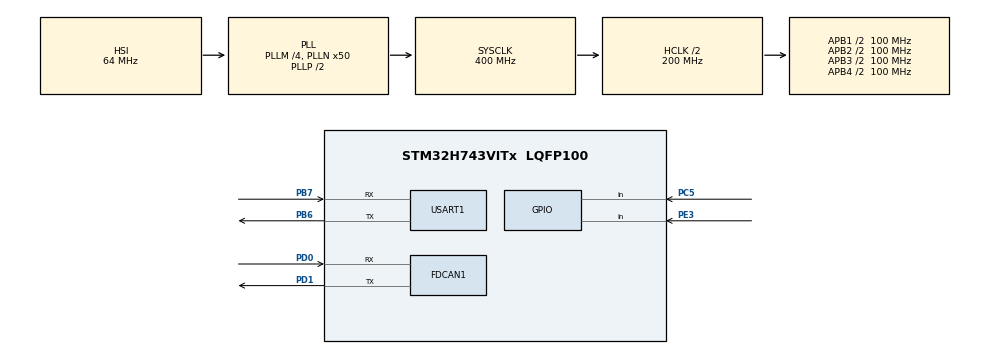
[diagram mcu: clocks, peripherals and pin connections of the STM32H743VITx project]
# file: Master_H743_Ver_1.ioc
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CORTEX_M7.default_mode_Activation=1
FDCAN1.CalculateBaudRateNominal=125000
FDCAN1.CalculateTimeBitNominal=8000
FDCAN1.CalculateTimeQuantumNominal=100.0
FDCAN1.NominalPrescaler=10
FDCAN1.NominalTimeSeg1=63
FDCAN1.NominalTimeSeg2=16
FDCAN1.RxBuffersNbr=3
FDCAN1.TxFifoQueueElmtsNbr=2
FDCAN1.TxFifoQueueMode=FDCAN_TX_QUEUE_OPERATION
Mcu.Family=STM32H7
Mcu.Name=STM32H743VITx
Mcu.Package=LQFP100
NVIC.FDCAN1_IT0_IRQn=true\:0\:0\:false\:false\:true\:true\:true\:true
NVIC.PriorityGroup=NVIC_PRIORITYGROUP_4
NVIC.USART1_IRQn=true\:0\:0\:false\:false\:true\:true\:true\:true
PB6.Mode=Asynchronous
PB6.Signal=USART1_TX
PB7.Mode=Asynchronous
PB7.Signal=USART1_RX
PC5.GPIO_PuPd=GPIO_PULLUP
PC5.Signal=GPIO_Input
PD0.Mode=FDCAN_Activate
PD0.Signal=FDCAN1_RX
PD1.Mode=FDCAN_Activate
PD1.Signal=FDCAN1_TX
PE3.GPIO_PuPd=GPIO_PULLUP
PE3.Signal=GPIO_Input
PH0-OSC_IN\ (PH0).Mode=HSE-External-Oscillator
PH0-OSC_IN\ (PH0).Signal=RCC_OSC_IN
PH1-OSC_OUT\ (PH1).Mode=HSE-External-Oscillator
PH1-OSC_OUT\ (PH1).Signal=RCC_OSC_OUT
ProjectManager.HeapSize=0x200
ProjectManager.StackSize=0x400
ProjectManager.TargetToolchain=STM32CubeIDE
RCC.ADCFreq_Value=129000000
RCC.APB1Freq_Value=100000000
RCC.APB2Freq_Value=100000000
RCC.APB3Freq_Value=100000000
RCC.APB4Freq_Value=100000000
RCC.CortexFreq_Value=400000000
RCC.D1PPRE=RCC_APB3_DIV2
RCC.D2PPRE1=RCC_APB1_DIV2
RCC.D2PPRE2=RCC_APB2_DIV2
RCC.D3PPRE=RCC_APB4_DIV2
RCC.DATA_CACHE_ENABLE=1
RCC.DIVM1=4
RCC.DIVN1=50
RCC.DIVQ1=8
RCC.HCLKFreq_Value=200000000
RCC.HPRE=RCC_HCLK_DIV2
RCC.INSTRUCTION_CACHE_ENABLE=1
RCC.PLL2FRACN=0
RCC.PLL3FRACN=0
RCC.PLLFRACN=0
RCC.PREFETCH_ENABLE=1
RCC.PWREXT_OverDrive=PWREXT_OverDrive_DESACTIVATED
RCC.SYSCLKFreq_VALUE=400000000
RCC.SYSCLKSource=RCC_SYSCLKSOURCE_PLLCLK
RCC.USBFreq_Value=100000000
USART1.VirtualMode-Asynchronous=VM_ASYNC
VP_MEMORYMAP_VS_MEMORYMAP.Mode=CurAppReg
board=custom

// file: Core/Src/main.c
/* USER CODE BEGIN Header */
/**
  ******************************************************************************
  * @file           : main.c
  * @brief          : Main program body
  ******************************************************************************
  * @attention
  *
  * Copyright (c) 2026 STMicroelectronics.
  * All rights reserved.
  *
  * This software is licensed under terms that can be found in the LICENSE file
  * in the root directory of this software component.
  * If no LICENSE file comes with this software, it is provided AS-IS.
  *
  ******************************************************************************
  */
/* USER CODE END Header */
#include "main.h"

/* USER CODE BEGIN Includes */
#include <string.h>
#include <stdio.h>
#include <stdlib.h>
/* USER CODE END Includes */

FDCAN_HandleTypeDef hfdcan1;

UART_HandleTypeDef huart1;

/* USER CODE BEGIN PV */
uint8_t RxDataUART[1];
char UartBuffer[128];
uint16_t UartBufferIndex = 0;
/* USER CODE END PV */

void SystemClock_Config(void);
static void MPU_Config(void);
static void MX_GPIO_Init(void);
static void MX_FDCAN1_Init(void);
static void MX_USART1_UART_Init(void);

int main(void)
{

  /* MPU Configuration--------------------------------------------------------*/
  MPU_Config();

  /* MCU Configuration--------------------------------------------------------*/

  /* Reset of all peripherals, Initializes the Flash interface and the Systick. */
  HAL_Init();

  /* Configure the system clock */
  SystemClock_Config();

  /* Initialize all configured peripherals */
  MX_GPIO_Init();
  MX_FDCAN1_Init();
  MX_USART1_UART_Init();
  /* USER CODE BEGIN 2 */
  // --- Cấu hình FDCAN Sniffer ---
  // Nhận TẤT CẢ gói tin CAN vào RxFifo0 (Không dùng Filter)
  HAL_FDCAN_ConfigGlobalFilter(&hfdcan1, FDCAN_ACCEPT_IN_RX_FIFO0, FDCAN_ACCEPT_IN_RX_FIFO0, FDCAN_REJECT_REMOTE, FDCAN_REJECT_REMOTE);

  // Kích hoạt ngắt nhận FDCAN
  HAL_FDCAN_ActivateNotification(&hfdcan1, FDCAN_IT_RX_FIFO0_NEW_MESSAGE, 0);

  // Khởi động giao diện FDCAN
  HAL_FDCAN_Start(&hfdcan1);

  // Khởi động ngắt nhận UART để giao tiếp với C#
  HAL_UART_Receive_IT(&huart1, RxDataUART, 1);

  // Cấu hình gói tin gửi đi cho K1 (Gửi cho F407)
  FDCAN_TxHeaderTypeDef TxHeader1;
  TxHeader1.Identifier = 0x010;
  TxHeader1.IdType = FDCAN_STANDARD_ID;
  TxHeader1.TxFrameType = FDCAN_DATA_FRAME;
  TxHeader1.DataLength = FDCAN_DLC_BYTES_1;
  TxHeader1.ErrorStateIndicator = FDCAN_ESI_ACTIVE;
  TxHeader1.BitRateSwitch = FDCAN_BRS_OFF; // KHÔNG dùng FD, dùng Classic
  TxHeader1.FDFormat = FDCAN_CLASSIC_CAN;  // Ép về chuẩn CAN 2.0 để giao tiếp với F4
  TxHeader1.TxEventFifoControl = FDCAN_NO_TX_EVENTS;
  TxHeader1.MessageMarker = 0;

  // Cấu hình gói tin gửi đi cho K2 (Gửi cho F429)
  FDCAN_TxHeaderTypeDef TxHeader2 = TxHeader1;
  TxHeader2.Identifier = 0x020;

  uint8_t TxData[1] = {0x01}; // Lệnh đổi trạng thái LED

  // Khai báo biến chống rung cho K1 và K2 (Mặc định bằng 1 vì đã Pull-Up)
  uint32_t last_press_time_K1 = 0;
  uint32_t last_press_time_K2 = 0;
  uint8_t last_btn_state_K1 = GPIO_PIN_SET;
  uint8_t last_btn_state_K2 = GPIO_PIN_SET;
  uint8_t debounced_K1 = GPIO_PIN_SET;
  uint8_t debounced_K2 = GPIO_PIN_SET;
  /* USER CODE END 2 */

  /* Infinite loop */
  while (1)
  {

    /* USER CODE BEGIN 3 */
    // --- XỬ LÝ NÚT K1 (PE3) ---
    uint8_t raw_K1 = HAL_GPIO_ReadPin(GPIOE, GPIO_PIN_3);
    if (raw_K1 != last_btn_state_K1) {
      last_press_time_K1 = HAL_GetTick();
    }
    if ((HAL_GetTick() - last_press_time_K1) > 50) {
      if (raw_K1 != debounced_K1) {
        debounced_K1 = raw_K1;
        if (debounced_K1 == GPIO_PIN_RESET) { // Nhấn thì trạng thái bằng 0 (Pull-up)
          HAL_FDCAN_AddMessageToTxFifoQ(&hfdcan1, &TxHeader1, TxData); // Gửi 0x010
        }
      }
    }
    last_btn_state_K1 = raw_K1;

    // --- XỬ LÝ NÚT K2 (PC5) ---
    uint8_t raw_K2 = HAL_GPIO_ReadPin(GPIOC, GPIO_PIN_5);
    if (raw_K2 != last_btn_state_K2) {
      last_press_time_K2 = HAL_GetTick();
    }
    if ((HAL_GetTick() - last_press_time_K2) > 50) {
      if (raw_K2 != debounced_K2) {
        debounced_K2 = raw_K2;
        if (debounced_K2 == GPIO_PIN_RESET) { // Nhấn thì trạng thái bằng 0
          HAL_FDCAN_AddMessageToTxFifoQ(&hfdcan1, &TxHeader2, TxData); // Gửi 0x020
        }
      }
    }
    last_btn_state_K2 = raw_K2;

  }
  /* USER CODE END 3 */
}

void SystemClock_Config(void)
{
  RCC_OscInitTypeDef RCC_OscInitStruct = {0};
  RCC_ClkInitTypeDef RCC_ClkInitStruct = {0};

  /** Supply configuration update enable
  */
  HAL_PWREx_ConfigSupply(PWR_LDO_SUPPLY);

  /** Configure the main internal regulator output voltage
  */
  __HAL_PWR_VOLTAGESCALING_CONFIG(PWR_REGULATOR_VOLTAGE_SCALE1);

  while(!__HAL_PWR_GET_FLAG(PWR_FLAG_VOSRDY)) {}

  /** Initializes the RCC Oscillators according to the specified parameters
  * in the RCC_OscInitTypeDef structure.
  */
  RCC_OscInitStruct.OscillatorType = RCC_OSCILLATORTYPE_HSI;
  RCC_OscInitStruct.HSIState = RCC_HSI_DIV1;
  RCC_OscInitStruct.HSICalibrationValue = RCC_HSICALIBRATION_DEFAULT;
  RCC_OscInitStruct.PLL.PLLState = RCC_PLL_ON;
  RCC_OscInitStruct.PLL.PLLSource = RCC_PLLSOURCE_HSI;
  RCC_OscInitStruct.PLL.PLLM = 4;
  RCC_OscInitStruct.PLL.PLLN = 50;
  RCC_OscInitStruct.PLL.PLLP = 2;
  RCC_OscInitStruct.PLL.PLLQ = 8;
  RCC_OscInitStruct.PLL.PLLR = 2;
  RCC_OscInitStruct.PLL.PLLRGE = RCC_PLL1VCIRANGE_3;
  RCC_OscInitStruct.PLL.PLLVCOSEL = RCC_PLL1VCOWIDE;
  RCC_OscInitStruct.PLL.PLLFRACN = 0;
  if (HAL_RCC_OscConfig(&RCC_OscInitStruct) != HAL_OK)
  {
    Error_Handler();
  }

  /** Initializes the CPU, AHB and APB buses clocks
  */
  RCC_ClkInitStruct.ClockType = RCC_CLOCKTYPE_HCLK|RCC_CLOCKTYPE_SYSCLK
                              |RCC_CLOCKTYPE_PCLK1|RCC_CLOCKTYPE_PCLK2
                              |RCC_CLOCKTYPE_D3PCLK1|RCC_CLOCKTYPE_D1PCLK1;
  RCC_ClkInitStruct.SYSCLKSource = RCC_SYSCLKSOURCE_PLLCLK;
  RCC_ClkInitStruct.SYSCLKDivider = RCC_SYSCLK_DIV1;
  RCC_ClkInitStruct.AHBCLKDivider = RCC_HCLK_DIV2;
  RCC_ClkInitStruct.APB3CLKDivider = RCC_APB3_DIV2;
  RCC_ClkInitStruct.APB1CLKDivider = RCC_APB1_DIV2;
  RCC_ClkInitStruct.APB2CLKDivider = RCC_APB2_DIV2;
  RCC_ClkInitStruct.APB4CLKDivider = RCC_APB4_DIV2;

  if (HAL_RCC_ClockConfig(&RCC_ClkInitStruct, FLASH_LATENCY_2) != HAL_OK)
  {
    Error_Handler();
  }
}

static void MX_FDCAN1_Init(void)
{

  /* USER CODE BEGIN FDCAN1_Init 1 */
  // === QUAN TRỌNG: Ép buộc RxFifo0 có 3 phần tử ===
  // CubeMX luôn sinh RxFifo0ElmtsNbr = 0 (bug/config sai).
  // Phải ghi đè ở đây TRƯỚC khi HAL_FDCAN_Init() được gọi.
  // Nếu không, FDCAN sẽ không có chỗ chứa gói tin nhận được!
  /* USER CODE END FDCAN1_Init 1 */
  hfdcan1.Instance = FDCAN1;
  hfdcan1.Init.FrameFormat = FDCAN_FRAME_CLASSIC;
  hfdcan1.Init.Mode = FDCAN_MODE_NORMAL;
  hfdcan1.Init.AutoRetransmission = DISABLE;
  hfdcan1.Init.TransmitPause = DISABLE;
  hfdcan1.Init.ProtocolException = DISABLE;
  hfdcan1.Init.NominalPrescaler = 10;
  hfdcan1.Init.NominalSyncJumpWidth = 1;
  hfdcan1.Init.NominalTimeSeg1 = 63;
  hfdcan1.Init.NominalTimeSeg2 = 16;
  hfdcan1.Init.DataPrescaler = 1;
  hfdcan1.Init.DataSyncJumpWidth = 1;
  hfdcan1.Init.DataTimeSeg1 = 1;
  hfdcan1.Init.DataTimeSeg2 = 1;
  hfdcan1.Init.MessageRAMOffset = 0;
  hfdcan1.Init.StdFiltersNbr = 0;
  hfdcan1.Init.ExtFiltersNbr = 0;
  hfdcan1.Init.RxFifo0ElmtsNbr = 0;
  hfdcan1.Init.RxFifo0ElmtSize = FDCAN_DATA_BYTES_8;
  hfdcan1.Init.RxFifo1ElmtsNbr = 0;
  hfdcan1.Init.RxFifo1ElmtSize = FDCAN_DATA_BYTES_8;
  hfdcan1.Init.RxBuffersNbr = 3;
  hfdcan1.Init.RxBufferSize = FDCAN_DATA_BYTES_8;
  hfdcan1.Init.TxEventsNbr = 0;
  hfdcan1.Init.TxBuffersNbr = 0;
  hfdcan1.Init.TxFifoQueueElmtsNbr = 2;
  hfdcan1.Init.TxFifoQueueMode = FDCAN_TX_QUEUE_OPERATION;
  hfdcan1.Init.TxElmtSize = FDCAN_DATA_BYTES_8;
  if (HAL_FDCAN_Init(&hfdcan1) != HAL_OK)
  {
    Error_Handler();
  }
  /* USER CODE BEGIN FDCAN1_Init 2 */
  // === V\u00c1 L\u1ed6I CUBEMX: RxFifo0ElmtsNbr = 0 ===
  // CubeMX \u0111\u1ec3 gi\u00e1 tr\u1ecb = 0, khi\u1ebfn FDCAN kh\u00f4ng th\u1ec3 nh\u1eadn b\u1ea5t k\u1ef3 g\u00f3i tin n\u00e0o.
  // \u00c9p bu\u1ed9c l\u1ea1i th\u00e0nh 3 v\u00e0 Init l\u1ea1i l\u1ea7n n\u1eefa.
  hfdcan1.Init.RxFifo0ElmtsNbr = 3;
  if (HAL_FDCAN_Init(&hfdcan1) != HAL_OK)
  {
    Error_Handler();
  }
  /* USER CODE END FDCAN1_Init 2 */

}

static void MX_USART1_UART_Init(void)
{

  huart1.Instance = USART1;
  huart1.Init.BaudRate = 115200;
  huart1.Init.WordLength = UART_WORDLENGTH_8B;
  huart1.Init.StopBits = UART_STOPBITS_1;
  huart1.Init.Parity = UART_PARITY_NONE;
  huart1.Init.Mode = UART_MODE_TX_RX;
  huart1.Init.HwFlowCtl = UART_HWCONTROL_NONE;
  huart1.Init.OverSampling = UART_OVERSAMPLING_16;
  huart1.Init.OneBitSampling = UART_ONE_BIT_SAMPLE_DISABLE;
  huart1.Init.ClockPrescaler = UART_PRESCALER_DIV1;
  huart1.AdvancedInit.AdvFeatureInit = UART_ADVFEATURE_NO_INIT;
  if (HAL_UART_Init(&huart1) != HAL_OK)
  {
    Error_Handler();
  }
  if (HAL_UARTEx_SetTxFifoThreshold(&huart1, UART_TXFIFO_THRESHOLD_1_8) != HAL_OK)
  {
    Error_Handler();
  }
  if (HAL_UARTEx_SetRxFifoThreshold(&huart1, UART_RXFIFO_THRESHOLD_1_8) != HAL_OK)
  {
    Error_Handler();
  }
  if (HAL_UARTEx_DisableFifoMode(&huart1) != HAL_OK)
  {
    Error_Handler();
  }

}

static void MX_GPIO_Init(void)
{
  GPIO_InitTypeDef GPIO_InitStruct = {0};

  /* GPIO Ports Clock Enable */
  __HAL_RCC_GPIOE_CLK_ENABLE();
  __HAL_RCC_GPIOH_CLK_ENABLE();
  __HAL_RCC_GPIOC_CLK_ENABLE();
  __HAL_RCC_GPIOD_CLK_ENABLE();
  __HAL_RCC_GPIOB_CLK_ENABLE();

  /*Configure GPIO pin : PE3 */
  GPIO_InitStruct.Pin = GPIO_PIN_3;
  GPIO_InitStruct.Mode = GPIO_MODE_INPUT;
  GPIO_InitStruct.Pull = GPIO_PULLUP;
  HAL_GPIO_Init(GPIOE, &GPIO_InitStruct);

  /*Configure GPIO pin : PC5 */
  GPIO_InitStruct.Pin = GPIO_PIN_5;
  GPIO_InitStruct.Mode = GPIO_MODE_INPUT;
  GPIO_InitStruct.Pull = GPIO_PULLUP;
  HAL_GPIO_Init(GPIOC, &GPIO_InitStruct);

  /* USER CODE BEGIN MX_GPIO_Init_2 */
  /* Code tay đã được dọn dẹp vì CubeMX đã tự động cấu hình phần cứng ở trên */
  /* USER CODE END MX_GPIO_Init_2 */
}

/* USER CODE BEGIN 4 */
// Gửi chuỗi qua UART
void UartSendString(const char* str) {
    HAL_UART_Transmit(&huart1, (uint8_t*)str, strlen(str), 100);
}

// Xử lý ngắt FDCAN: Chuyển dữ liệu lên PC
void HAL_FDCAN_RxFifo0Callback(FDCAN_HandleTypeDef *hfdcan, uint32_t RxFifo0ITs)
{
    if((RxFifo0ITs & FDCAN_IT_RX_FIFO0_NEW_MESSAGE) != RESET)
    {
        FDCAN_RxHeaderTypeDef RxHeader;
        uint8_t RxData[8] = {0};
        if (HAL_FDCAN_GetRxMessage(hfdcan, FDCAN_RX_FIFO0, &RxHeader, RxData) == HAL_OK)
        {
            char msg[100];
            uint32_t id = RxHeader.Identifier;

            if (id == 0x11A) {
                uint16_t ch1 = ((uint16_t)RxData[0] << 8) | RxData[1];
                uint16_t ch2 = ((uint16_t)RxData[2] << 8) | RxData[3];
                uint16_t ch3 = ((uint16_t)RxData[4] << 8) | RxData[5];

                uint32_t v1 = (uint32_t)ch1 * 330 / 4095;
                uint32_t v2 = (uint32_t)ch2 * 330 / 4095;
                uint32_t v3 = (uint32_t)ch3 * 330 / 4095;

                sprintf(msg, "<ADC_3CH:%lu.%02lu,%lu.%02lu,%lu.%02lu>\r\n",
                        v1/100, v1%100, v2/100, v2%100, v3/100, v3%100);
            } else if (id == 0x112 && RxHeader.DataLength >= FDCAN_DLC_BYTES_6) {
                // Telemetry motor từ F429: RPM, Dir, Duty, Encoder
                int16_t rpm = (int16_t)((RxData[0] << 8) | RxData[1]);
                uint8_t dir = RxData[2];
                uint8_t duty = RxData[3];
                int16_t enc = (int16_t)((RxData[4] << 8) | RxData[5]);

                sprintf(msg, "<MOTOR_SPD:%d,%u,%u,%d>\r\n", rpm, dir, duty, enc);
            } else if (id == 0x113) {
                // PID Telemetry từ F429: Target, Actual, Error, Output
                int16_t target = (int16_t)((RxData[0] << 8) | RxData[1]);
                int16_t actual = (int16_t)((RxData[2] << 8) | RxData[3]);
                int16_t error  = (int16_t)((RxData[4] << 8) | RxData[5]);
                int8_t  output = (int8_t)RxData[6];

                sprintf(msg, "<PID_DATA:%d,%d,%d,%d>\r\n", target, actual, error, output);
            } else {
                sprintf(msg, "[CAN_RX] ID: 0x%03lX, DATA: %02X\r\n", id, RxData[0]);
            }

            UartSendString(msg);
        }
    }
}

// Xử lý ngắt UART: Nhận lệnh từ C# và chuyển xuống CAN
void HAL_UART_RxCpltCallback(UART_HandleTypeDef *huart)
{
    if (huart->Instance == USART1)
    {
        if (RxDataUART[0] == '\n') // Kết thúc chuỗi
        {
            UartBuffer[UartBufferIndex] = '\0'; // Kết thúc chuỗi C

            // --- ECHO LOG ĐỂ DEBUG ---
            char debug_msg[150];
            sprintf(debug_msg, "[DEBUG-RX] I received: %s\n", UartBuffer);
            UartSendString(debug_msg);

            FDCAN_TxHeaderTypeDef TxHdr = {0};
            TxHdr.IdType = FDCAN_STANDARD_ID;
            TxHdr.TxFrameType = FDCAN_DATA_FRAME;
            TxHdr.DataLength = FDCAN_DLC_BYTES_1;
            TxHdr.ErrorStateIndicator = FDCAN_ESI_ACTIVE;
            TxHdr.BitRateSwitch = FDCAN_BRS_OFF;
            TxHdr.FDFormat = FDCAN_CLASSIC_CAN;
            TxHdr.TxEventFifoControl = FDCAN_NO_TX_EVENTS;
            TxHdr.MessageMarker = 0;

            // Xử lý chuỗi (Dùng strstr để chống nhiễu đầu chuỗi khi mở cổng COM)
            if (strstr(UartBuffer, "<CMD_PING>") != NULL)
            {
                UartSendString("\n====================================\n");
                UartSendString("[SYSTEM] STM32H743 MASTER CONNECTED!\n");
                UartSendString("[SYSTEM] CAN BUS 125KBPS IS READY.\n");
                UartSendString("====================================\n");
            }
            else if (strstr(UartBuffer, "<CMD_START_ADC>") != NULL)
            {
                TxHdr.Identifier = 0x010; // Dùng chung ID 0x010 của Slave 1
                uint8_t d[1] = {0x02}; // Mã lệnh Start ADC
                HAL_FDCAN_AddMessageToTxFifoQ(&hfdcan1, &TxHdr, d);
            }
            else if (strstr(UartBuffer, "<CMD_STOP_ADC>") != NULL)
            {
                TxHdr.Identifier = 0x010; // Dùng chung ID 0x010 của Slave 1
                uint8_t d[1] = {0x03}; // Mã lệnh Stop ADC
                HAL_FDCAN_AddMessageToTxFifoQ(&hfdcan1, &TxHdr, d);
            }
            else if (strstr(UartBuffer, "<PWM_FWD_") != NULL)
            {
                // Format: <PWM_FWD_50> → Quay thuận 50%
                char *val_str = strstr(UartBuffer, "<PWM_FWD_") + 9;
                int pwm_val = atoi(val_str);
                if (pwm_val > 100) pwm_val = 100;

                TxHdr.Identifier = 0x020;
                TxHdr.DataLength = FDCAN_DLC_BYTES_2;
                uint8_t d[2] = {0x10, (uint8_t)pwm_val}; // cmd=FWD, duty
                HAL_FDCAN_AddMessageToTxFifoQ(&hfdcan1, &TxHdr, d);
                TxHdr.DataLength = FDCAN_DLC_BYTES_1; // Reset về mặc định
            }
            else if (strstr(UartBuffer, "<PWM_REV_") != NULL)
            {
                // Format: <PWM_REV_50> → Quay ngược 50%
                char *val_str = strstr(UartBuffer, "<PWM_REV_") + 9;
                int pwm_val = atoi(val_str);
                if (pwm_val > 100) pwm_val = 100;

                TxHdr.Identifier = 0x020;
                TxHdr.DataLength = FDCAN_DLC_BYTES_2;
                uint8_t d[2] = {0x11, (uint8_t)pwm_val}; // cmd=REV, duty
                HAL_FDCAN_AddMessageToTxFifoQ(&hfdcan1, &TxHdr, d);
                TxHdr.DataLength = FDCAN_DLC_BYTES_1;
            }
            else if (strstr(UartBuffer, "<PWM_BRAKE>") != NULL)
            {
                TxHdr.Identifier = 0x020;
                TxHdr.DataLength = FDCAN_DLC_BYTES_2;
                uint8_t d[2] = {0x12, 0x00}; // cmd=BRAKE
                HAL_FDCAN_AddMessageToTxFifoQ(&hfdcan1, &TxHdr, d);
                TxHdr.DataLength = FDCAN_DLC_BYTES_1;
            }
            else if (strstr(UartBuffer, "<PWM_STOP>") != NULL)
            {
                TxHdr.Identifier = 0x020;
                TxHdr.DataLength = FDCAN_DLC_BYTES_2;
                uint8_t d[2] = {0x13, 0x00}; // cmd=COAST
                HAL_FDCAN_AddMessageToTxFifoQ(&hfdcan1, &TxHdr, d);
                TxHdr.DataLength = FDCAN_DLC_BYTES_1;
            }
            // ============ LỆNH PID ============
            else if (strstr(UartBuffer, "<PID_SET:") != NULL)
            {
                // Format: <PID_SET:Kp_100,Ki_100,Kd_100> (int values)
                char *val_str = strstr(UartBuffer, "<PID_SET:") + 9;
                int kp_i = 0, ki_i = 0, kd_i = 0;
                sscanf(val_str, "%d,%d,%d", &kp_i, &ki_i, &kd_i);

                TxHdr.Identifier = 0x020;
                TxHdr.DataLength = FDCAN_DLC_BYTES_8; // 7 bytes needed, use 8
                uint8_t d[8] = {0x20,
                    (uint8_t)(kp_i >> 8), (uint8_t)(kp_i & 0xFF),
                    (uint8_t)(ki_i >> 8), (uint8_t)(ki_i & 0xFF),
                    (uint8_t)(kd_i >> 8), (uint8_t)(kd_i & 0xFF), 0x00};
                HAL_FDCAN_AddMessageToTxFifoQ(&hfdcan1, &TxHdr, d);
                TxHdr.DataLength = FDCAN_DLC_BYTES_1;
            }
            else if (strstr(UartBuffer, "<PID_TARGET:") != NULL)
            {
                char *val_str = strstr(UartBuffer, "<PID_TARGET:") + 12;
                int target_rpm = atoi(val_str);
                int16_t rpm_i = (int16_t)target_rpm;

                TxHdr.Identifier = 0x020;
                TxHdr.DataLength = FDCAN_DLC_BYTES_3;
                uint8_t d[3] = {0x21, (uint8_t)(rpm_i >> 8), (uint8_t)(rpm_i & 0xFF)};
                HAL_FDCAN_AddMessageToTxFifoQ(&hfdcan1, &TxHdr, d);
                TxHdr.DataLength = FDCAN_DLC_BYTES_1;
            }
            else if (strstr(UartBuffer, "<PID_START>") != NULL)
            {
                TxHdr.Identifier = 0x020;
                uint8_t d[1] = {0x22};
                HAL_FDCAN_AddMessageToTxFifoQ(&hfdcan1, &TxHdr, d);
            }
            else if (strstr(UartBuffer, "<PID_STOP>") != NULL)
            {
                TxHdr.Identifier = 0x020;
                uint8_t d[1] = {0x23};
                HAL_FDCAN_AddMessageToTxFifoQ(&hfdcan1, &TxHdr, d);
            }
            else if (strstr(UartBuffer, "<PID_CPR:") != NULL)
            {
                char *val_str = strstr(UartBuffer, "<PID_CPR:") + 9;
                uint16_t cpr = (uint16_t)atoi(val_str);

                TxHdr.Identifier = 0x020;
                TxHdr.DataLength = FDCAN_DLC_BYTES_3;
                uint8_t d[3] = {0x24, (uint8_t)(cpr >> 8), (uint8_t)(cpr & 0xFF)};
                HAL_FDCAN_AddMessageToTxFifoQ(&hfdcan1, &TxHdr, d);
                TxHdr.DataLength = FDCAN_DLC_BYTES_1;
            }

            // Reset buffer
            UartBufferIndex = 0;
        }
        else if (RxDataUART[0] != '\r')
        {
            if (UartBufferIndex < 127) {
                UartBuffer[UartBufferIndex++] = RxDataUART[0];
            }
        }

        // Tiếp tục lắng nghe
        HAL_UART_Receive_IT(&huart1, RxDataUART, 1);
    }
}

// Xử lý tự động khôi phục nếu UART bị lỗi (VD: Lỗi Overrun do nhiễu rác)
void HAL_UART_ErrorCallback(UART_HandleTypeDef *huart)
{
    if (huart->Instance == USART1)
    {
        // Xóa mọi cờ lỗi
        __HAL_UART_CLEAR_OREFLAG(huart);
        __HAL_UART_CLEAR_NEFLAG(huart);
        __HAL_UART_CLEAR_FEFLAG(huart);

        // Khởi động lại ngắt nhận
        HAL_UART_Receive_IT(&huart1, RxDataUART, 1);
    }
}
/* USER CODE END 4 */

 /* MPU Configuration */

void MPU_Config(void)
{
  MPU_Region_InitTypeDef MPU_InitStruct = {0};

  /* Disables the MPU */
  HAL_MPU_Disable();

  /** Initializes and configures the Region and the memory to be protected
  */
  MPU_InitStruct.Enable = MPU_REGION_ENABLE;
  MPU_InitStruct.Number = MPU_REGION_NUMBER0;
  MPU_InitStruct.BaseAddress = 0x0;
  MPU_InitStruct.Size = MPU_REGION_SIZE_4GB;
  MPU_InitStruct.SubRegionDisable = 0x87;
  MPU_InitStruct.TypeExtField = MPU_TEX_LEVEL0;
  MPU_InitStruct.AccessPermission = MPU_REGION_NO_ACCESS;
  MPU_InitStruct.DisableExec = MPU_INSTRUCTION_ACCESS_DISABLE;
  MPU_InitStruct.IsShareable = MPU_ACCESS_SHAREABLE;
  MPU_InitStruct.IsCacheable = MPU_ACCESS_NOT_CACHEABLE;
  MPU_InitStruct.IsBufferable = MPU_ACCESS_NOT_BUFFERABLE;

  HAL_MPU_ConfigRegion(&MPU_InitStruct);
  /* Enables the MPU */
  HAL_MPU_Enable(MPU_PRIVILEGED_DEFAULT);

}

void Error_Handler(void)
{
  __disable_irq();
  while (1)
  {
  }
}
